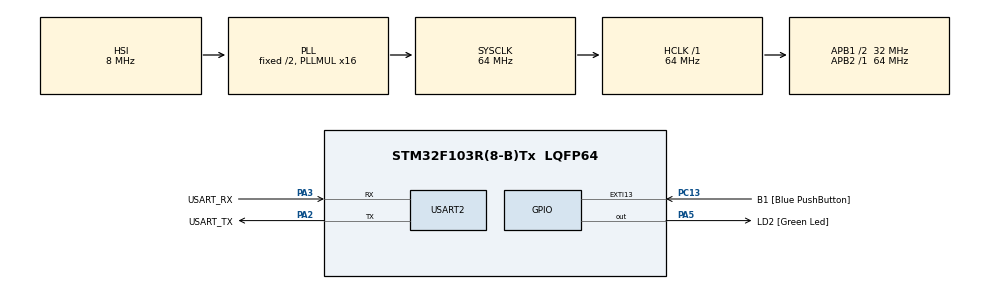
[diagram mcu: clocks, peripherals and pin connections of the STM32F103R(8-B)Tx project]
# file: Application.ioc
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Mcu.Family=STM32F1
Mcu.Name=STM32F103R(8-B)Tx
Mcu.Package=LQFP64
NVIC.EXTI15_10_IRQn=true\:0\:0\:false\:false\:true\:true\:true\:true
NVIC.PriorityGroup=NVIC_PRIORITYGROUP_4
PA13.GPIO_Label=TMS
PA13.Mode=Serial_Wire
PA13.Signal=SYS_JTMS-SWDIO
PA14.GPIO_Label=TCK
PA14.Mode=Serial_Wire
PA14.Signal=SYS_JTCK-SWCLK
PA2.GPIO_Label=USART_TX
PA2.GPIO_Mode=GPIO_MODE_AF_PP
PA2.GPIO_PuPd=GPIO_NOPULL
PA2.GPIO_Speed=GPIO_SPEED_FREQ_LOW
PA2.Mode=Asynchronous
PA2.Signal=USART2_TX
PA3.GPIO_Label=USART_RX
PA3.GPIO_Mode=GPIO_MODE_AF_PP
PA3.GPIO_PuPd=GPIO_NOPULL
PA3.GPIO_Speed=GPIO_SPEED_FREQ_LOW
PA3.Mode=Asynchronous
PA3.Signal=USART2_RX
PA5.GPIO_Label=LD2 [Green Led]
PA5.GPIO_ModeDefaultOutputPP=GPIO_MODE_OUTPUT_PP
PA5.GPIO_PuPd=GPIO_NOPULL
PA5.GPIO_Speed=GPIO_SPEED_FREQ_LOW
PA5.Signal=GPIO_Output
PB3.Signal=SYS_JTDO-TRACESWO
PC13-TAMPER-RTC.GPIO_Label=B1 [Blue PushButton]
PC13-TAMPER-RTC.GPIO_PuPd=GPIO_NOPULL
PC13-TAMPER-RTC.Signal=GPXTI13
PC14-OSC32_IN.Mode=LSE-External-Oscillator
PC14-OSC32_IN.Signal=RCC_OSC32_IN
PC15-OSC32_OUT.Mode=LSE-External-Oscillator
PC15-OSC32_OUT.Signal=RCC_OSC32_OUT
PD0-OSC_IN.Mode=HSE-External-Clock-Source
PD0-OSC_IN.Signal=RCC_OSC_IN
PD1-OSC_OUT.Mode=HSE-External-Clock-Source
PD1-OSC_OUT.Signal=RCC_OSC_OUT
ProjectManager.HeapSize=0x200
ProjectManager.StackSize=0x400
ProjectManager.TargetToolchain=CMake
RCC.AHBFreq_Value=64000000
RCC.APB1CLKDivider=RCC_HCLK_DIV2
RCC.APB1Freq_Value=32000000
RCC.APB1TimFreq_Value=64000000
RCC.APB2Freq_Value=64000000
RCC.APB2TimFreq_Value=64000000
RCC.HCLKFreq_Value=64000000
RCC.PLLMUL=RCC_PLL_MUL16
RCC.RTCClockSelection=RCC_RTCCLKSOURCE_LSE
RCC.SYSCLKFreq_VALUE=64000000
RCC.SYSCLKSource=RCC_SYSCLKSOURCE_PLLCLK
RCC.USBFreq_Value=64000000
USART2.VirtualMode=VM_ASYNC
board=NUCLEO-F103RB

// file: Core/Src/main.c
/* USER CODE BEGIN Header */
#ifdef DEBUG
#warning "DEBUG BUILD"
#endif
/**
  ******************************************************************************
  * @file           : main.c
  * @brief          : Main program body
  ******************************************************************************
  * @attention
  *
  * Copyright (c) 2026 STMicroelectronics.
  * All rights reserved.
  *
  * This software is licensed under terms that can be found in the LICENSE file
  * in the root directory of this software component.
  * If no LICENSE file comes with this software, it is provided AS-IS.
  *
  ******************************************************************************
  */
/* USER CODE END Header */
#include "main.h"
#include "flash.h"
#include "metadata.h"

/* USER CODE BEGIN Includes */
#include "debug.h"
#ifdef DEBUG
#include "printf-stdarg.c"
#endif
/* USER CODE END Includes */

/* USER CODE BEGIN PD */
#define APP_VERSION_MAJOR 0
#define APP_VERSION_MINOR 1
/* USER CODE END PD */

UART_HandleTypeDef huart2;

/* USER CODE BEGIN PV */
const uint8_t App_Version[2] = { APP_VERSION_MAJOR, APP_VERSION_MINOR };
/* USER CODE END PV */

void SystemClock_Config(void);
static void MX_GPIO_Init(void);
static void MX_USART2_UART_Init(void);
/* USER CODE BEGIN PFP */
void Task_App_BlinkLED(void);
#ifdef DEBUG
int uart_putchar(int c);
#endif
/* USER CODE END PFP */

int main(void)
{

  /* USER CODE BEGIN 1 */
  volatile uint32_t vtor = SCB->VTOR;
//   SCB->VTOR = 0x08006000U; // slot a
//  SCB->VTOR = 0x08012000; // slot b

  /* USER CODE END 1 */

  /* MCU Configuration--------------------------------------------------------*/

  /* Reset of all peripherals, Initializes the Flash interface and the Systick. */
  HAL_Init();

  /* Configure the system clock */
  SystemClock_Config();

  /* Initialize all configured peripherals */
  MX_GPIO_Init();
  MX_USART2_UART_Init();
  /* USER CODE BEGIN 2 */
  DEBUG_PRINTF("Starting application (%d.%d)\n", App_Version[0], App_Version[1]);
  // signal to bootloader that this boot was successful
  // write 0 to boot_count in metadata
  Metadata meta;
  Metadata_Load(&meta);
  meta.bootcount = 0;
  // meta.FW_VER_MAJOR = APP_VERSION_MAJOR; // todo important don't know if I need it
  // meta.FW_VER_MINOR = APP_VERSION_MINOR;
  Metadata_Save(&meta);
  /* USER CODE END 2 */

  /* Infinite loop */
  /* USER CODE BEGIN WHILE */
  while (1)
  {
    Task_App_BlinkLED();
    /* USER CODE END WHILE */

  }
}

void SystemClock_Config(void)
{
  RCC_OscInitTypeDef RCC_OscInitStruct = {0};
  RCC_ClkInitTypeDef RCC_ClkInitStruct = {0};

  /** Initializes the RCC Oscillators according to the specified parameters
  * in the RCC_OscInitTypeDef structure.
  */
  RCC_OscInitStruct.OscillatorType = RCC_OSCILLATORTYPE_HSI;
  RCC_OscInitStruct.HSIState = RCC_HSI_ON;
  RCC_OscInitStruct.HSICalibrationValue = RCC_HSICALIBRATION_DEFAULT;
  RCC_OscInitStruct.PLL.PLLState = RCC_PLL_ON;
  RCC_OscInitStruct.PLL.PLLSource = RCC_PLLSOURCE_HSI_DIV2;
  RCC_OscInitStruct.PLL.PLLMUL = RCC_PLL_MUL16;
  if (HAL_RCC_OscConfig(&RCC_OscInitStruct) != HAL_OK)
  {
    Error_Handler();
  }

  /** Initializes the CPU, AHB and APB buses clocks
  */
  RCC_ClkInitStruct.ClockType = RCC_CLOCKTYPE_HCLK|RCC_CLOCKTYPE_SYSCLK
                              |RCC_CLOCKTYPE_PCLK1|RCC_CLOCKTYPE_PCLK2;
  RCC_ClkInitStruct.SYSCLKSource = RCC_SYSCLKSOURCE_PLLCLK;
  RCC_ClkInitStruct.AHBCLKDivider = RCC_SYSCLK_DIV1;
  RCC_ClkInitStruct.APB1CLKDivider = RCC_HCLK_DIV2;
  RCC_ClkInitStruct.APB2CLKDivider = RCC_HCLK_DIV1;

  if (HAL_RCC_ClockConfig(&RCC_ClkInitStruct, FLASH_LATENCY_2) != HAL_OK)
  {
    Error_Handler();
  }
}

static void MX_USART2_UART_Init(void)
{

  huart2.Instance = USART2;
  huart2.Init.BaudRate = 115200;
  huart2.Init.WordLength = UART_WORDLENGTH_8B;
  huart2.Init.StopBits = UART_STOPBITS_1;
  huart2.Init.Parity = UART_PARITY_NONE;
  huart2.Init.Mode = UART_MODE_TX_RX;
  huart2.Init.HwFlowCtl = UART_HWCONTROL_NONE;
  huart2.Init.OverSampling = UART_OVERSAMPLING_16;
  if (HAL_UART_Init(&huart2) != HAL_OK)
  {
    Error_Handler();
  }

}

static void MX_GPIO_Init(void)
{
  GPIO_InitTypeDef GPIO_InitStruct = {0};

  /* GPIO Ports Clock Enable */
  __HAL_RCC_GPIOC_CLK_ENABLE();
  __HAL_RCC_GPIOD_CLK_ENABLE();
  __HAL_RCC_GPIOA_CLK_ENABLE();
  __HAL_RCC_GPIOB_CLK_ENABLE();

  /*Configure GPIO pin Output Level */
  HAL_GPIO_WritePin(LD2_GPIO_Port, LD2_Pin, GPIO_PIN_RESET);

  /*Configure GPIO pin : B1_Pin */
  GPIO_InitStruct.Pin = B1_Pin;
  GPIO_InitStruct.Mode = GPIO_MODE_IT_RISING;
  GPIO_InitStruct.Pull = GPIO_NOPULL;
  HAL_GPIO_Init(B1_GPIO_Port, &GPIO_InitStruct);

  /*Configure GPIO pin : LD2_Pin */
  GPIO_InitStruct.Pin = LD2_Pin;
  GPIO_InitStruct.Mode = GPIO_MODE_OUTPUT_PP;
  GPIO_InitStruct.Pull = GPIO_NOPULL;
  GPIO_InitStruct.Speed = GPIO_SPEED_FREQ_LOW;
  HAL_GPIO_Init(LD2_GPIO_Port, &GPIO_InitStruct);

  /* EXTI interrupt init*/
  HAL_NVIC_SetPriority(EXTI15_10_IRQn, 0, 0);
  HAL_NVIC_EnableIRQ(EXTI15_10_IRQn);

}

/* USER CODE BEGIN 4 */
void Task_App_BlinkLED(void) {
  HAL_GPIO_WritePin(LD2_GPIO_Port, LD2_Pin, GPIO_PIN_SET);
  HAL_Delay(1000); // 100ms sec delay, tested with 100ms delay for slot b and 1sec delay for slot A
  HAL_GPIO_WritePin(LD2_GPIO_Port, LD2_Pin, GPIO_PIN_RESET);
  HAL_Delay(1000);
}

#ifdef DEBUG
int uart_putchar(int c)
{
  HAL_UART_Transmit(&huart2, (uint8_t *)&c, 1, HAL_MAX_DELAY);
  return c;
}
#endif
/* USER CODE END 4 */

void Error_Handler(void)
{
  __disable_irq();
  while (1)
  {
  }
}
